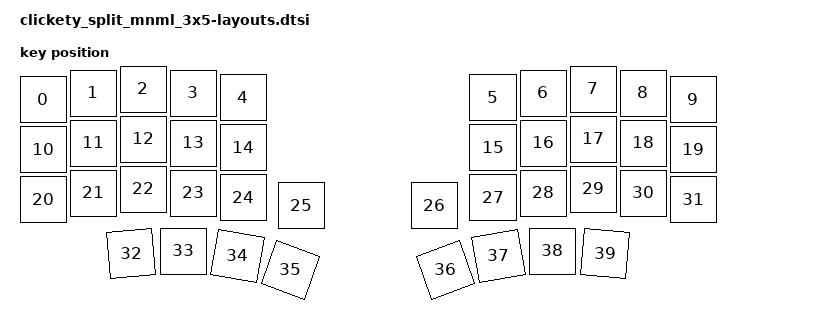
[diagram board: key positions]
/*
 * Copyright (c) 2025 Clickety Split Ltd.
 * SPDX-License-Identifier: MIT
 */

#include <physical_layouts.dtsi>

/ {
    mnml_3x5_layout: mnml_3x5_layout {
        compatible = "zmk,physical-layout";
        display-name = "MNML 3x5";

        /*
         * Physical geometry derived from the STEP-measured MNML 3x6 layout
         * with the outer three-key column removed from each half.
         *
         * Units:
         *   w, h, x, y: centi-keyunits (100 = 1U)
         *   rot:         centidegrees
         *
         * The two halves use a fixed 30 mm visual separation for Studio
         * rendering. This is not a physical constraint on the split keyboard.
         *
         * Keys are listed in the same order as default_transform.
         */
        keys  //                     w   h     x    y      rot    rx    ry

            // Row 0
            = <&key_physical_attrs 100 100     0   21        0     0     0>
            , <&key_physical_attrs 100 100   100    8        0     0     0>
            , <&key_physical_attrs 100 100   200    0        0     0     0>
            , <&key_physical_attrs 100 100   300    8        0     0     0>
            , <&key_physical_attrs 100 100   400   17        0     0     0>

            , <&key_physical_attrs 100 100   900   17        0     0     0>
            , <&key_physical_attrs 100 100  1000    8        0     0     0>
            , <&key_physical_attrs 100 100  1100    0        0     0     0>
            , <&key_physical_attrs 100 100  1200    8        0     0     0>
            , <&key_physical_attrs 100 100  1300   21        0     0     0>

            // Row 1
            , <&key_physical_attrs 100 100     0  121        0     0     0>
            , <&key_physical_attrs 100 100   100  108        0     0     0>
            , <&key_physical_attrs 100 100   200  100        0     0     0>
            , <&key_physical_attrs 100 100   300  108        0     0     0>
            , <&key_physical_attrs 100 100   400  117        0     0     0>

            , <&key_physical_attrs 100 100   900  117        0     0     0>
            , <&key_physical_attrs 100 100  1000  108        0     0     0>
            , <&key_physical_attrs 100 100  1100  100        0     0     0>
            , <&key_physical_attrs 100 100  1200  108        0     0     0>
            , <&key_physical_attrs 100 100  1300  121        0     0     0>

            // Row 2, including inner key on each half
            , <&key_physical_attrs 100 100     0  221        0     0     0>
            , <&key_physical_attrs 100 100   100  208        0     0     0>
            , <&key_physical_attrs 100 100   200  200        0     0     0>
            , <&key_physical_attrs 100 100   300  208        0     0     0>
            , <&key_physical_attrs 100 100   400  217        0     0     0>
            , <&key_physical_attrs 100 100   517  233        0     0     0>

            , <&key_physical_attrs 100 100   783  233        0     0     0>
            , <&key_physical_attrs 100 100   900  217        0     0     0>
            , <&key_physical_attrs 100 100  1000  208        0     0     0>
            , <&key_physical_attrs 100 100  1100  200        0     0     0>
            , <&key_physical_attrs 100 100  1200  208        0     0     0>
            , <&key_physical_attrs 100 100  1300  221        0     0     0>

            // Modifier / thumb row
            , <&key_physical_attrs 100 100   176  329   (-500)   226   379>
            , <&key_physical_attrs 100 100   281  324         0     0     0>
            , <&key_physical_attrs 100 100   389  334      1000   439   384>
            , <&key_physical_attrs 100 100   495  362      2000   545   412>

            , <&key_physical_attrs 100 100   805  362   (-2000)   855   412>
            , <&key_physical_attrs 100 100   911  334   (-1000)   961   384>
            , <&key_physical_attrs 100 100  1019  324         0     0     0>
            , <&key_physical_attrs 100 100  1124  329       500  1174   379>
            ;
    };
};
